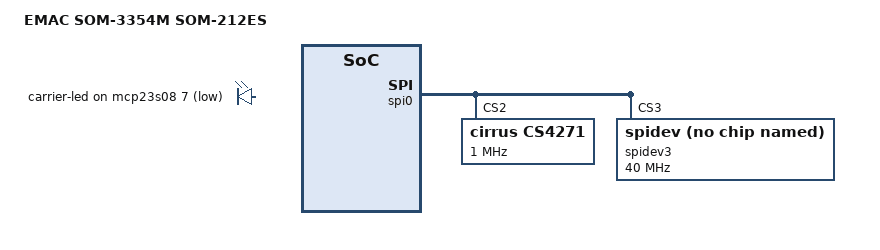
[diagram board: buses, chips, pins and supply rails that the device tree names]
/*
 * som-3354-212es.dts - Device Tree file for the SOM-3354M with SOM-212ES.
 *
 * Copyright (C) 2015 EMAC Inc.
 * Copyright (C) 2015 QWERTY Embedded Design
 *
 * This program is free software; you can redistribute it and/or modify
 * it under the terms of the GNU General Public License version 2 as
 * published by the Free Software Foundation.
 */

/dts-v1/;

#include "som-3354.dtsi"

/ {
	model = "EMAC SOM-3354M SOM-212ES";

	sound {
		compatible = "simple-audio-card";
		simple-audio-card,name = "cs4271 @ SOM3354";
		simple-audio-card,format = "i2s";
		simple-audio-card,bitclock-master = <&codec_master>;
		simple-audio-card,frame-master = <&codec_master>;
		simple-audio-card,widgets =
			"Line", "Line In",
			"Line", "Line Out";
		simple-audio-card,routing =
			"Line In", "Capture",
			"Line Out", "Playback";

		cpu_master: simple-audio-card,cpu {
			sound-dai = <&mcasp0>;
		};

		codec_master: simple-audio-card,codec {
			sound-dai = <&cs4271>;
			clocks = <&si5351 2>;
		};
	};

	leds {
		led@1 {
			label = "carrier-led";
			gpios = <&mcp23s08 7 GPIO_ACTIVE_LOW>;
			default-state = "on";
			linux,default-trigger = "mmc1";
		};
	};
};

&spi0 {
	cs4271: cs4271@2 {
		#sound-dai-cells = <0>;
		compatible = "cirrus,cs4271";
		spi-cpol;
		spi-cpha;
		reg = <2>;
		spi-max-frequency = <1000000>;
		status = "okay";
	};

	spidev3: spidev@3 {
		compatible = "emac,spidev";
		reg = <3>;
		spi-max-frequency = <40000000>;
		status = "okay";
	};
};
